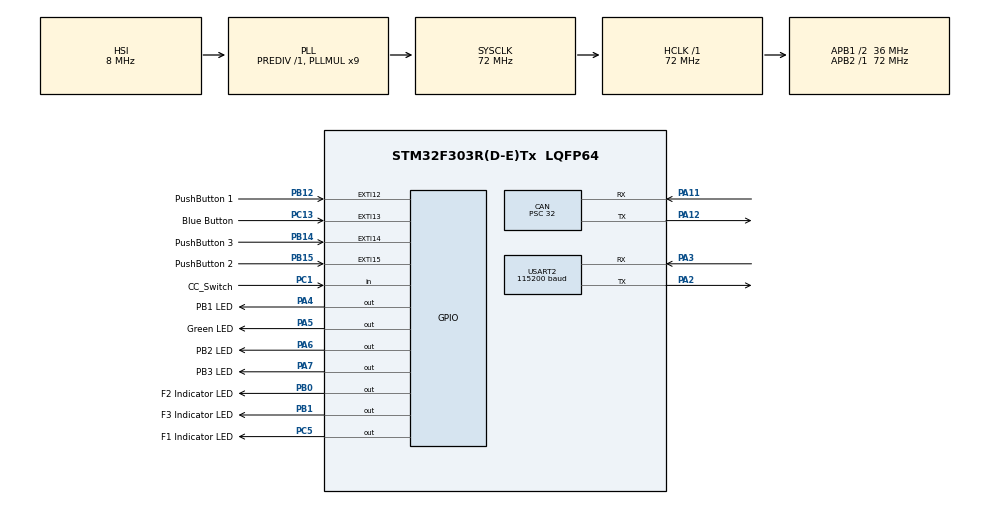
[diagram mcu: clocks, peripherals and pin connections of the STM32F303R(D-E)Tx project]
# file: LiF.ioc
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CAN.BS1=CAN_BS1_4TQ
CAN.BS2=CAN_BS2_4TQ
CAN.CalculateBaudRate=125000
CAN.CalculateTimeBit=8000
CAN.CalculateTimeQuantum=888.8888888888889
CAN.Prescaler=32
Mcu.Family=STM32F3
Mcu.Name=STM32F303R(D-E)Tx
Mcu.Package=LQFP64
NVIC.EXTI15_10_IRQn=true\:0\:0\:false\:false\:true\:true\:true\:true
NVIC.PVD_IRQn=true\:0\:0\:false\:false\:true\:true\:true\:true
NVIC.PriorityGroup=NVIC_PRIORITYGROUP_4
NVIC.USB_LP_CAN_RX0_IRQn=true\:0\:0\:false\:false\:true\:true\:true\:true
PA11.Mode=CAN_Activate
PA11.Signal=CAN_RX
PA12.Mode=CAN_Activate
PA12.Signal=CAN_TX
PA2.Mode=Asynchronous
PA2.Signal=USART2_TX
PA3.Mode=Asynchronous
PA3.Signal=USART2_RX
PA4.GPIO_Label=PB1 LED
PA4.Signal=GPIO_Output
PA5.GPIO_Label=Green LED
PA5.Signal=GPIO_Output
PA6.GPIO_Label=PB2 LED
PA6.Signal=GPIO_Output
PA7.GPIO_Label=PB3 LED
PA7.Signal=GPIO_Output
PB0.GPIO_Label=F2 Indicator LED
PB0.Signal=GPIO_Output
PB1.GPIO_Label=F3 Indicator LED
PB1.Signal=GPIO_Output
PB12.GPIO_Label=PushButton 1
PB12.GPIO_ModeDefaultEXTI=GPIO_MODE_IT_FALLING
PB12.Signal=GPXTI12
PB14.GPIO_Label=PushButton 3
PB14.GPIO_ModeDefaultEXTI=GPIO_MODE_IT_FALLING
PB14.Signal=GPXTI14
PB15.GPIO_Label=PushButton 2
PB15.GPIO_ModeDefaultEXTI=GPIO_MODE_IT_FALLING
PB15.Signal=GPXTI15
PC1.GPIO_Label=CC_Switch
PC1.GPIO_PuPd=GPIO_PULLUP
PC1.Signal=GPIO_Input
PC13.GPIO_Label=Blue Button
PC13.GPIO_ModeDefaultEXTI=GPIO_MODE_IT_FALLING
PC13.Signal=GPXTI13
PC5.GPIO_Label=F1 Indicator LED
PC5.Signal=GPIO_Output
ProjectManager.HeapSize=0x200
ProjectManager.StackSize=0x400
ProjectManager.TargetToolchain=STM32CubeIDE
RCC.AHBFreq_Value=72000000
RCC.APB1CLKDivider=RCC_HCLK_DIV2
RCC.APB1Freq_Value=36000000
RCC.APB1TimFreq_Value=72000000
RCC.APB2Freq_Value=72000000
RCC.APB2TimFreq_Value=72000000
RCC.CortexFreq_Value=72000000
RCC.HCLKFreq_Value=72000000
RCC.HSE_VALUE=8000000
RCC.HSI_VALUE=8000000
RCC.LSE_VALUE=32768
RCC.PLLMUL=RCC_PLL_MUL9
RCC.SYSCLKFreq_VALUE=72000000
RCC.SYSCLKSourceVirtual=RCC_SYSCLKSOURCE_PLLCLK
RCC.USBFreq_Value=72000000
USART2.BaudRate=115200
USART2.VirtualMode-Asynchronous=VM_ASYNC
board=custom

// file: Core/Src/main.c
/* USER CODE BEGIN Header */
/**
  ******************************************************************************
  * @file           : main.c
  * @brief          : Main program body
  * @author		    : Nick Kapuka
  ******************************************************************************
  * @attention
  *
  * Copyright (c) 2026 STMicroelectronics.
  * All rights reserved.
  *
  * This software is licensed under terms that can be found in the LICENSE file
  * in the root directory of this software component.
  * If no LICENSE file comes with this software, it is provided AS-IS.
  *
  ******************************************************************************
  */
/* USER CODE END Header */
#include "main.h"

/* USER CODE BEGIN Includes */
#include <stdbool.h>
/* USER CODE END Includes */

/* USER CODE BEGIN PD */
// ------------- NK UPDATE -------------:

// alternate between the different boards; used to setup faster FLASHING
#define CC_BOARD	0					// Cab STM32
#define F1_BOARD	1					// Floor 1 STM32
#define F2_BOARD	2					// Floor 2 STM32
#define F3_BOARD	3					// Floor 3 STM32

// ********************************* CHANGE PER BOARD *********************************
#define SELECTED_BOARD	CC_BOARD		// currently selected board; change when flashing
// ************************************************************************************

// CAN IDs:
#define SC_ID				          0x100		// Supervisor Controller; R-Pi
#define EC_ID				          0x101		// Elevator Controller; arduino
#define CC_ID				          0x200		// Cab Controller; STM32
#define SC_TO_CC_DOOR_UPD_ID  0x201		// SC requesting door state and
#define F1_ID				          0x301		// Floor 1 controller; STM32
#define F2_ID				          0x302		// Floor 2 controller; STM32
#define F3_ID				          0x303		// Floor 3 controller; STM32

// variable names for each floor
#define CAB_MOVING		0			// no floor; used for Cab
#define FLOOR_1				1
#define FLOOR_2				2
#define FLOOR_3				3
#define CAB_ALLOW			4

// pre-comp code block for configuring STM32 FLASHING
#if SELECTED_BOARD == CC_BOARD
	#define MY_ID		CC_ID
	#define MY_FLOOR	NO_FLOOR

// if floor 1 board
#elif SELECTED_BOARD == F1_BOARD
	#define MY_ID		F1_ID
	#define MY_FLOOR	FLOOR_1

// if floor 2 board
#elif	SELECTED_BOARD == F2_BOARD
	#define MY_ID		F2_ID
	#define MY_FLOOR	FLOOR_2

// if floor 3 board
#elif	SELECTED_BOARD == F3_BOARD
	#define MY_ID		F3_ID
	#define MY_FLOOR	FLOOR_3

// error check
#else
	#error "Invalid SELECTED_BOARD"

#endif

#define	NO_BUTTON_PRESSED	0		// default value for button status
#define BLUE_BUTTON_PRESS	1		// blue button will act as a 'homing' and send elv down to F1
#define	F1_BUTTON_PRESS		1		// req to go to floor 1 PB pressed
#define F2_BUTTON_PRESS		2		// req to go to floor 2 PB pressed
#define F3_BUTTON_PRESS		3		// req to go to floor 3 PB pressed
#define FX_BUTTON_PRESS		1		// req to go to send message (due to Matvey's requst)

/* USER CODE END PD */

CAN_HandleTypeDef hcan;

UART_HandleTypeDef huart2;

/* USER CODE BEGIN PV */
// ------------- NK UPDATE -------------:
CAN_TxHeaderTypeDef		TxHeader;						// variable of type CAN_TxHeaderTypeDef
CAN_RxHeaderTypeDef		RxHeader;						// variable of type CAN_RxHeaderTypeDef
uint8_t					TxData[8];						// 8 bytes of data per frame
uint8_t					RxData[8];						// 8 bytes of data per frame
uint32_t				TxMailbox;
volatile uint8_t		BUTTON = NO_BUTTON_PRESSED;		// initial value is that no button has been pressed

// receive initializations
volatile uint8_t CAN_MsgPending	= 0;		// flag for a pending message
volatile uint32_t rx_ID 	 	= 0;		// received message ID (only listen to EC's 0x101 ID)
volatile uint8_t rx_Byte0 		= 0;		// used to store numbers from first byte
uint8_t	 elevator_en 	= 0;				// elevator enabled flag (part of the message that EC sends)
uint8_t	 current_floor 	= 0;				// current floor value (part of the message that EC sends)
											// note: these are used in RxCallback function
bool is_virt_door_used = false;   // CC-only variable - is virtual door state being used
bool is_virt_door_open = false;   // CC-only variable - is virtual door open

// define a struct for non-blocking LED logic
typedef struct {
	GPIO_TypeDef* port;
	uint16_t pin;
	uint8_t active;
	uint32_t off_time;  // reused as last_transition_time in do_repeat=true mode
  bool do_repeat;     // added to allow continuous flashing
  uint32_t period;    // added to allow continuous flashing
} LED_Timer;

// enable the four LEDs (three floors and green blink for CANTx)
LED_Timer greenLedTimer = {GPIOA, Green_LED_Pin, 0, 0, false, 0};
LED_Timer F1_Req_LED = {PB1_LED_GPIO_Port, PB1_LED_Pin, 0, 0, false, 0};
LED_Timer F2_Req_LED = {PB2_LED_GPIO_Port, PB2_LED_Pin, 0, 0, false, 0};
LED_Timer F3_Req_LED = {PB3_LED_GPIO_Port, PB3_LED_Pin, 0, 0, false, 0};

uint8_t tx_buff[254];

/* USER CODE END PV */

void SystemClock_Config(void);
static void MX_GPIO_Init(void);
static void MX_CAN_Init(void);
static void MX_USART2_UART_Init(void);
/* USER CODE BEGIN PFP */
void CAN_ByteTransmit(uint32_t std_id, uint8_t data0);
void LED_BlinkStart(LED_Timer* led, uint32_t duration_ms);
void LED_BlinkUpdate(LED_Timer* led);
void CAN_ProcessReceive(void);
uint8_t PB_Process(uint8_t button);
void showFloor(void);
void doorSwitch(void);

void LED_FlashingStart(LED_Timer* led, uint32_t period);
void LED_FlashingStop(LED_Timer* led);

/* USER CODE END PFP */

/* USER CODE BEGIN 0 */
// ------------- NK UPDATE -------------:

// make a new function for transmitting CAN message:
// note, this setup is almost the same as the MX_CAN_Init
void CAN_ByteTransmit(uint32_t std_id, uint8_t data0){
	// set the TxHeader's stdID to std_id that you can pass into the function (message type and message data)
	// config:
	TxHeader.StdId = std_id;				// same as MX_CAN
	TxHeader.IDE = CAN_ID_STD;				// same as MX_CAN
	TxHeader.RTR = CAN_RTR_DATA;			// same as MX_CAN
	TxHeader.DLC = 1;						// same as MX_CAN
	TxHeader.TransmitGlobalTime = DISABLE;	// same as MX_CAN

	TxData[0] = data0;						// in the first byte of TxData, put the data you want to send

	// handle error
    if (HAL_CAN_AddTxMessage(&hcan, &TxHeader, TxData, &TxMailbox) != HAL_OK)
    {
        Error_Handler();
    }

    // note, the goal is to use this function as:
    // CAN_ByteTransmit(MY_ID, FLOOR_X);
}

// function to blink the LED without blocking (HAL_Delay is my nemesis)
// allows you to select what LED to blink and for how long
void LED_BlinkStart(LED_Timer* led, uint32_t duration_ms)
{
	// enable the LED via the defined port and pin (LED_Timer struct) and set it
	HAL_GPIO_WritePin(led->port, led->pin, GPIO_PIN_SET);
	// pointer to the LED_Timer struct to enable the 'active' bit in the struct
	led->active = 1;
  led->do_repeat = 0;
	// pointer to the LED_Timer struct to set the desired delay time
	// if tick is 100 and delay is 200, off_time is 300; Then when tick is 300, LED will be turned off via blinkUpdate below
	led->off_time = HAL_GetTick() + duration_ms;
}

void LED_FlashingStart(LED_Timer* led, uint32_t period) {
  // enable the LED via the defined port and pin (LED_Timer struct) and set it
	HAL_GPIO_WritePin(led->port, led->pin, GPIO_PIN_SET);
  // configure LED_Timer struct parameters
  led->active = 1;
  led->do_repeat = 1;
  led->period = period;
  led->off_time = HAL_GetTick(); // used as last transition timestamp in do_repeat mode
}

void LED_FlashingStop(LED_Timer* led) {
  led->do_repeat = 0;
  led->period = 0;
  HAL_GPIO_WritePin(led->port, led->pin, GPIO_PIN_RESET);
}

// function to update the state of the LED without blocking (HAL_delay is my nemesis)
void LED_BlinkUpdate(LED_Timer* led)
{
	// check if the LED is active
	if(led->active)
	{
    if (led->do_repeat) {
      // added continuous flashing
      if ((int32_t)HAL_GetTick() - led->off_time >= led->period) {
        led->off_time = (int32_t)HAL_GetTick();
        HAL_GPIO_TogglePin(led->port, led->pin);
      }
    } else {
      // keeping Nick's original code for single-time flash
      if((int32_t)(HAL_GetTick() - led->off_time) >= 0)
      {
        // turn the led off
        HAL_GPIO_WritePin(led->port, led->pin, GPIO_PIN_RESET);
        // disable the a'ctive' bit in the struct
        led->active = 0;
      }
    }
	}
}

// to show what floor elevator is on:
void showFloor(void)
{
    // turn all floor indicator LEDs off first
    HAL_GPIO_WritePin(F1_Indicator_LED_GPIO_Port, F1_Indicator_LED_Pin, GPIO_PIN_RESET);
    HAL_GPIO_WritePin(F2_Indicator_LED_GPIO_Port, F2_Indicator_LED_Pin, GPIO_PIN_RESET);
    HAL_GPIO_WritePin(F3_Indicator_LED_GPIO_Port, F3_Indicator_LED_Pin, GPIO_PIN_RESET);

    if(current_floor == FLOOR_1)
    {
        HAL_GPIO_WritePin(F1_Indicator_LED_GPIO_Port, F1_Indicator_LED_Pin, GPIO_PIN_SET);
    }
    else if(current_floor == FLOOR_2)
    {
        HAL_GPIO_WritePin(F2_Indicator_LED_GPIO_Port, F2_Indicator_LED_Pin, GPIO_PIN_SET);
    }
    else if(current_floor == FLOOR_3)
    {
        HAL_GPIO_WritePin(F3_Indicator_LED_GPIO_Port, F3_Indicator_LED_Pin, GPIO_PIN_SET);
    }
}

void CAN_ProcessReceive(void){
	// check if received ID is the ID of the EC
  int length = snprintf(tx_buff, sizeof(tx_buff), "Rec CAN frame with ID: %x and data %x ", rx_ID, rx_Byte0);
  HAL_UART_Transmit(&huart2, tx_buff, strlen(tx_buff), 1000);
	if (rx_ID == EC_ID)
	{
    strcpy(tx_buff, " - EC - Accepted\n");
    HAL_UART_Transmit(&huart2, tx_buff, strlen(tx_buff), 1000);
    // shift the 3rd bit (the actual EC en bit; >> 2) down to bit 1 and keep that (& 0x01)
		elevator_en = (rx_Byte0 >> 2) & 0x01;

		// only read the first two bits
		current_floor = rx_Byte0 & 0x03;
	} else if (rx_ID == SC_TO_CC_DOOR_UPD_ID) {
#if SELECTED_BOARD == CC_BOARD
    // CC may send a door status update if SC requests it in SC_TO_CC_DOOR_UPD_ID message
    bool do_send_reply = (rx_Byte0 & 0b00000100) > 0;
    bool do_use_virtual_door = (rx_Byte0 & 0b00000010) > 0;
    bool is_virtual_door_open_rx = (rx_Byte0 & 0b00000001) > 0;

    if (do_use_virtual_door) {
      is_virt_door_used = true;
      is_virt_door_open = is_virtual_door_open_rx;
      if (is_virt_door_open) {
        // if virtual door is open, update LEDs to flash together slowly

        LED_FlashingStart(&F1_Req_LED, 500);
        LED_FlashingStart(&F2_Req_LED, 500);
        LED_FlashingStart(&F3_Req_LED, 500);
      } else {
        LED_FlashingStop(&F1_Req_LED);
        LED_FlashingStop(&F2_Req_LED);
        LED_FlashingStop(&F3_Req_LED);
      }

    } else {
      is_virt_door_used = false;
      LED_FlashingStop(&F1_Req_LED);
      LED_FlashingStop(&F2_Req_LED);
      LED_FlashingStop(&F3_Req_LED);
    }

    if (do_send_reply) {
    	GPIO_PinState currentSwitchState = HAL_GPIO_ReadPin(CC_Switch_GPIO_Port, CC_Switch_Pin);
      bool is_phy_door_open = currentSwitchState == GPIO_PIN_SET;

      // reply open if either physical or virtual door is open
      bool reply_door_state = is_phy_door_open | is_virt_door_open;

      // CC_EN is bit 2
			CAN_ByteTransmit(MY_ID, ((int)reply_door_state) << 2);

    }
#endif
  } else {
    strcpy(tx_buff, " - Rejected\n");
    HAL_UART_Transmit(&huart2, tx_buff, strlen(tx_buff), 1000);

  }
}

uint8_t PB_Process(uint8_t button){
// CC exclusive code; won't run unless CC is selected using SELECTED_BOARD
#if SELECTED_BOARD == CC_BOARD

	// PB1/2/3 means go to floor 1/2/3
	// for CC, the button detects were flipped due to the STM32 being mounted upside down on the assembly
	// makes it easier to visually see the "floor 3" button corresponding to floor 1 because it's the lowest on the PCB

	// add door switch check to every CAN transmission
	// grab current switch state
	GPIO_PinState currentSwitchState = HAL_GPIO_ReadPin(CC_Switch_GPIO_Port, CC_Switch_Pin);
	uint8_t doorBit;
	if (currentSwitchState == GPIO_PIN_SET) {
		doorBit = 0;	// door open
	} else {
		doorBit = 0b00000100;	// door closed
	}

	if(button == F3_BUTTON_PRESS)
	{
    CAN_ByteTransmit(MY_ID, FLOOR_1 | doorBit);

    int length = snprintf(tx_buff, sizeof(tx_buff), "Sending CAN frame with ID: %x and data %x\n", MY_ID, FLOOR_1 | doorBit);
    HAL_UART_Transmit(&huart2, tx_buff, strlen(tx_buff), 1000);

		// illuminate PB LED for visual confirmation
		LED_BlinkStart(&F3_Req_LED, 200);
		return 1;

	}
	else if(button == F2_BUTTON_PRESS)
	{
		CAN_ByteTransmit(MY_ID, FLOOR_2 | doorBit);

    int length = snprintf(tx_buff, sizeof(tx_buff), "Sending CAN frame with ID: %x and data %x\n", MY_ID, FLOOR_2 | doorBit);
    HAL_UART_Transmit(&huart2, tx_buff, strlen(tx_buff), 1000);

		// illuminate PB LED for visual confirmation
		LED_BlinkStart(&F2_Req_LED, 200);
		return 1;

	}
	else if(button == F1_BUTTON_PRESS)
	{
		CAN_ByteTransmit(MY_ID, FLOOR_3 | doorBit);

    int length = snprintf(tx_buff, sizeof(tx_buff), "Sending CAN frame with ID: %x and data %x\n", MY_ID, FLOOR_3 | doorBit);
    HAL_UART_Transmit(&huart2, tx_buff, strlen(tx_buff), 1000);

		// illuminate PB LED for visual confirmation
		LED_BlinkStart(&F1_Req_LED, 200);
		return 1;

	}

// process button input differently based on what STM32 is used (car vs floor controllers):
#elif SELECTED_BOARD == F1_BOARD
	if(button == FX_BUTTON_PRESS){
		CAN_ByteTransmit(MY_ID, 0x01);

    int length = snprintf(tx_buff, sizeof(tx_buff), "Sending CAN frame with ID: %x and data %x\n", MY_ID, 0x01);
    HAL_UART_Transmit(&huart2, tx_buff, strlen(tx_buff), 1000);

		// illuminate PB LED for visual confirmation
		LED_BlinkStart(&F1_Req_LED, 200);
		return 1;
	}

#elif SELECTED_BOARD == F2_BOARD
	if(button == FX_BUTTON_PRESS){
		CAN_ByteTransmit(MY_ID, 0x01);

    int length = snprintf(tx_buff, sizeof(tx_buff), "Sending CAN frame with ID: %x and data %x\n", MY_ID, 0x01);
    HAL_UART_Transmit(&huart2, tx_buff, strlen(tx_buff), 1000);

		// illuminate PB LED for visual confirmation
		LED_BlinkStart(&F2_Req_LED, 200);
		return 1;
	}

#elif SELECTED_BOARD == F3_BOARD
	if(button == FX_BUTTON_PRESS){
		CAN_ByteTransmit(MY_ID, 0x01);

    int length = snprintf(tx_buff, sizeof(tx_buff), "Sending CAN frame with ID: %x and data %x\n", MY_ID, 0x01);
    HAL_UART_Transmit(&huart2, tx_buff, strlen(tx_buff), 1000);

		// illuminate PB LED for visual confirmation
		LED_BlinkStart(&F3_Req_LED, 200);
		return 1;
	}
#endif

	return 0;
}

// function for door switch on car controller
void doorSwitch(void){

// only run the code if it's the CC_BOARD and not Floor controllers
#if SELECTED_BOARD == CC_BOARD

	// set a helper variable to 0. Use static to keep it between function calls.
	static GPIO_PinState lastSwitchState = GPIO_PIN_RESET;
	// grab current switch state
	GPIO_PinState currentSwitchState = HAL_GPIO_ReadPin(CC_Switch_GPIO_Port, CC_Switch_Pin);

	// if there was a change (switch flipped)
	if(currentSwitchState != lastSwitchState)
	{
		// reset the variable
		lastSwitchState = currentSwitchState;

		// if the switch is ON
		if(currentSwitchState == GPIO_PIN_SET)
		{
			// switch is ON = doors open = no movement allowed. Send CAN message of 0b000 or 0x00
			CAN_ByteTransmit(MY_ID, 0);

      int length = snprintf(tx_buff, sizeof(tx_buff), "Sending CAN frame with ID: %x and data %x\n", MY_ID, 0);
      HAL_UART_Transmit(&huart2, tx_buff, strlen(tx_buff), 1000);

			LED_BlinkStart(&greenLedTimer, 200);
		} else {
			// switch is OFF = doors closed = movement allowed. Send CAN message of 0b100 or 0x04
			CAN_ByteTransmit(MY_ID, CAB_ALLOW);

      int length = snprintf(tx_buff, sizeof(tx_buff), "Sending CAN frame with ID: %x and data %x\n", MY_ID, CAB_ALLOW);
      HAL_UART_Transmit(&huart2, tx_buff, strlen(tx_buff), 1000);

			LED_BlinkStart(&greenLedTimer, 200);
		}
	}
#endif
}

/* USER CODE END 0 */

int main(void)
{

  /* MCU Configuration--------------------------------------------------------*/

  /* Reset of all peripherals, Initializes the Flash interface and the Systick. */
  HAL_Init();

  /* Configure the system clock */
  SystemClock_Config();

  /* Initialize all configured peripherals */
  MX_GPIO_Init();
  MX_CAN_Init();
  MX_USART2_UART_Init();

  /* Infinite loop */
  while (1)
  {

    /* USER CODE BEGIN 3 */
	  	  // always display current floor on floor PCBs and car cab PCB
	  	  showFloor();

	  	  // always update the state of the LEDs blinking
	  	  LED_BlinkUpdate(&greenLedTimer);
	  	  LED_BlinkUpdate(&F1_Req_LED);
	  	  LED_BlinkUpdate(&F2_Req_LED);
	  	  LED_BlinkUpdate(&F3_Req_LED);
	  	  // run function to check if doorswitch was changed
	  	  doorSwitch();
	  	  // Receive messages
	  	  // check if msgpending (if msg received)
	  	 if (CAN_MsgPending)
	  	 {
	  		 // flag msg as read by reseting MsgPending
	  		 CAN_MsgPending = 0;
	  		 // process msg; grab the two values from EC regarding position (floor #) and status (en or !en)
	  		 CAN_ProcessReceive();
	  	 }

	  	 // Transmit messages
	  	 // check if input present
	  	if(BUTTON != NO_BUTTON_PRESSED)
	  	{
	  		// variable for storing current tick (debounce)
	  	    static uint32_t lastButtonTxTime = 0;
	  		 // temporarily store before processing
	  		 // avoids weird interrupt flags (like if BUTTON is updated before msg read)
	  	    uint8_t pressed_button = BUTTON;
	  	    BUTTON = NO_BUTTON_PRESSED;

	  	    // check current tick and compare to last press. Only send message if its a proper button press and not spam
	  	    if(HAL_GetTick() - lastButtonTxTime > 250)
	  	    {
	  	    	 // process button
	  	        uint8_t transmitSuccessful = PB_Process(pressed_button);
	  	        lastButtonTxTime = HAL_GetTick();

	  	        // blink green LED briefly if transmit succesful.
	  	        if(transmitSuccessful)
	  	        {
	  	        LED_BlinkStart(&greenLedTimer, 200);
	  	        }

	  	    }

	  	}
  }
  return 0;
  /* USER CODE END 3 */
}

void SystemClock_Config(void)
{
  RCC_OscInitTypeDef RCC_OscInitStruct = {0};
  RCC_ClkInitTypeDef RCC_ClkInitStruct = {0};
  RCC_PeriphCLKInitTypeDef PeriphClkInit = {0};

  /** Initializes the RCC Oscillators according to the specified parameters
  * in the RCC_OscInitTypeDef structure.
  */
  RCC_OscInitStruct.OscillatorType = RCC_OSCILLATORTYPE_HSI;
  RCC_OscInitStruct.HSIState = RCC_HSI_ON;
  RCC_OscInitStruct.HSICalibrationValue = RCC_HSICALIBRATION_DEFAULT;
  RCC_OscInitStruct.PLL.PLLState = RCC_PLL_ON;
  RCC_OscInitStruct.PLL.PLLSource = RCC_PLLSOURCE_HSI;
  RCC_OscInitStruct.PLL.PLLMUL = RCC_PLL_MUL9;
  RCC_OscInitStruct.PLL.PREDIV = RCC_PREDIV_DIV1;
  if (HAL_RCC_OscConfig(&RCC_OscInitStruct) != HAL_OK)
  {
    Error_Handler();
  }

  /** Initializes the CPU, AHB and APB buses clocks
  */
  RCC_ClkInitStruct.ClockType = RCC_CLOCKTYPE_HCLK|RCC_CLOCKTYPE_SYSCLK
                              |RCC_CLOCKTYPE_PCLK1|RCC_CLOCKTYPE_PCLK2;
  RCC_ClkInitStruct.SYSCLKSource = RCC_SYSCLKSOURCE_PLLCLK;
  RCC_ClkInitStruct.AHBCLKDivider = RCC_SYSCLK_DIV1;
  RCC_ClkInitStruct.APB1CLKDivider = RCC_HCLK_DIV2;
  RCC_ClkInitStruct.APB2CLKDivider = RCC_HCLK_DIV1;

  if (HAL_RCC_ClockConfig(&RCC_ClkInitStruct, FLASH_LATENCY_2) != HAL_OK)
  {
    Error_Handler();
  }
  PeriphClkInit.PeriphClockSelection = RCC_PERIPHCLK_USART2;
  PeriphClkInit.Usart2ClockSelection = RCC_USART2CLKSOURCE_PCLK1;
  if (HAL_RCCEx_PeriphCLKConfig(&PeriphClkInit) != HAL_OK)
  {
    Error_Handler();
  }
}

static void MX_CAN_Init(void)
{

  hcan.Instance = CAN;
  hcan.Init.Prescaler = 32;
  hcan.Init.Mode = CAN_MODE_NORMAL;
  hcan.Init.SyncJumpWidth = CAN_SJW_1TQ;
  hcan.Init.TimeSeg1 = CAN_BS1_4TQ;
  hcan.Init.TimeSeg2 = CAN_BS2_4TQ;
  hcan.Init.TimeTriggeredMode = DISABLE;
  hcan.Init.AutoBusOff = DISABLE;
  hcan.Init.AutoWakeUp = DISABLE;
  hcan.Init.AutoRetransmission = DISABLE;
  hcan.Init.ReceiveFifoLocked = DISABLE;
  hcan.Init.TransmitFifoPriority = DISABLE;
  if (HAL_CAN_Init(&hcan) != HAL_OK)
  {
    Error_Handler();
  }
  /* USER CODE BEGIN CAN_Init 2 */

  // ------------- NK UPDATE -------------:
  CAN_FilterTypeDef filter;		// this is one of the 13 filters; can create more filters but this will be #0

  // configure filter 0 to direct everything to FIFO 0
  filter.FilterBank = 0;				// this will filter number 0
  filter.FilterIdHigh = 0x0201 << 5;	// Set FilterIdHigh bits by choosing an ID and aligning the bits in the filter register with the receive register by shifting << 5
  filter.FilterIdLow = 0x0000;			// not using FilterIdLow bits (sets as dc/low)
  filter.FilterMaskIdHigh = 0xFFC << 5;	// Same as example in lecture (this gives a range of ID's that will be accept between 0x100 and 0x103). Must also align bits?
  filter.FilterMaskIdLow = 0x0000;		// not using FilterMaskIdLow bits (set as dc/low)
  filter.FilterFIFOAssignment = CAN_FILTER_FIFO0;
  filter.FilterMode = CAN_FILTERMODE_IDMASK;	// uses Mask Mode (so cans et range of IDs)
  filter.FilterScale = CAN_FILTERSCALE_32BIT;	//use 32 bit filters
  filter.FilterActivation = ENABLE;				// by default the filters are disabled so enable
  filter.SlaveStartFilterBank = 0;

  if(HAL_CAN_ConfigFilter(&hcan, &filter) != HAL_OK){ // set above values for filter 0?
	  Error_Handler();
  }

  // start CAN peripheral
  if(HAL_CAN_Start(&hcan) != HAL_OK){
	  Error_Handler();
  }

  // Activate CAN Rx notification interrupt
  if(HAL_CAN_ActivateNotification(&hcan, CAN_IT_RX_FIFO0_MSG_PENDING) != HAL_OK){
	  Error_Handler();
  }

  // prepare header fields for standard mode CAN transmission
  TxHeader.IDE = CAN_ID_STD; 			// using std mode. Note this CAN_ID_EXT for extended mode?
  TxHeader.ExtId = 0x00;				// extended id is not used?
  // ------------------------------------------------------------------------------------------
  TxHeader.StdId = MY_ID;				// standard mode ID is NODE specific. Currently using 0x200 for CC  controller on THIS board!
  // ------------------------------------------------------------------------------------------
  TxHeader.RTR = CAN_RTR_DATA;			// send a data frame not an RTR?
  TxHeader.DLC = 1;						// data length code = 1 (only send 1 byte)
  TxHeader.TransmitGlobalTime = DISABLE;

  /* USER CODE END CAN_Init 2 */

}

static void MX_USART2_UART_Init(void)
{

  huart2.Instance = USART2;
  huart2.Init.BaudRate = 115200;
  huart2.Init.WordLength = UART_WORDLENGTH_8B;
  huart2.Init.StopBits = UART_STOPBITS_1;
  huart2.Init.Parity = UART_PARITY_NONE;
  huart2.Init.Mode = UART_MODE_TX_RX;
  huart2.Init.HwFlowCtl = UART_HWCONTROL_NONE;
  huart2.Init.OverSampling = UART_OVERSAMPLING_16;
  huart2.Init.OneBitSampling = UART_ONE_BIT_SAMPLE_DISABLE;
  huart2.AdvancedInit.AdvFeatureInit = UART_ADVFEATURE_NO_INIT;
  if (HAL_UART_Init(&huart2) != HAL_OK)
  {
    Error_Handler();
  }

}

static void MX_GPIO_Init(void)
{
  GPIO_InitTypeDef GPIO_InitStruct = {0};

  /* GPIO Ports Clock Enable */
  __HAL_RCC_GPIOC_CLK_ENABLE();
  __HAL_RCC_GPIOA_CLK_ENABLE();
  __HAL_RCC_GPIOB_CLK_ENABLE();

  /*Configure GPIO pin Output Level */
  HAL_GPIO_WritePin(GPIOA, PB1_LED_Pin|Green_LED_Pin|PB2_LED_Pin|PB3_LED_Pin, GPIO_PIN_RESET);

  /*Configure GPIO pin Output Level */
  HAL_GPIO_WritePin(F1_Indicator_LED_GPIO_Port, F1_Indicator_LED_Pin, GPIO_PIN_RESET);

  /*Configure GPIO pin Output Level */
  HAL_GPIO_WritePin(GPIOB, F2_Indicator_LED_Pin|F3_Indicator_LED_Pin, GPIO_PIN_RESET);

  /*Configure GPIO pin : Blue_Button_Pin */
  GPIO_InitStruct.Pin = Blue_Button_Pin;
  GPIO_InitStruct.Mode = GPIO_MODE_IT_FALLING;
  GPIO_InitStruct.Pull = GPIO_NOPULL;
  HAL_GPIO_Init(Blue_Button_GPIO_Port, &GPIO_InitStruct);

  /*Configure GPIO pin : CC_Switch_Pin */
  GPIO_InitStruct.Pin = CC_Switch_Pin;
  GPIO_InitStruct.Mode = GPIO_MODE_INPUT;
  GPIO_InitStruct.Pull = GPIO_PULLDOWN;
  HAL_GPIO_Init(CC_Switch_GPIO_Port, &GPIO_InitStruct);

  /*Configure GPIO pins : PB1_LED_Pin Green_LED_Pin PB2_LED_Pin PB3_LED_Pin */
  GPIO_InitStruct.Pin = PB1_LED_Pin|Green_LED_Pin|PB2_LED_Pin|PB3_LED_Pin;
  GPIO_InitStruct.Mode = GPIO_MODE_OUTPUT_PP;
  GPIO_InitStruct.Pull = GPIO_NOPULL;
  GPIO_InitStruct.Speed = GPIO_SPEED_FREQ_LOW;
  HAL_GPIO_Init(GPIOA, &GPIO_InitStruct);

  /*Configure GPIO pin : F1_Indicator_LED_Pin */
  GPIO_InitStruct.Pin = F1_Indicator_LED_Pin;
  GPIO_InitStruct.Mode = GPIO_MODE_OUTPUT_PP;
  GPIO_InitStruct.Pull = GPIO_NOPULL;
  GPIO_InitStruct.Speed = GPIO_SPEED_FREQ_LOW;
  HAL_GPIO_Init(F1_Indicator_LED_GPIO_Port, &GPIO_InitStruct);

  /*Configure GPIO pins : F2_Indicator_LED_Pin F3_Indicator_LED_Pin */
  GPIO_InitStruct.Pin = F2_Indicator_LED_Pin|F3_Indicator_LED_Pin;
  GPIO_InitStruct.Mode = GPIO_MODE_OUTPUT_PP;
  GPIO_InitStruct.Pull = GPIO_NOPULL;
  GPIO_InitStruct.Speed = GPIO_SPEED_FREQ_LOW;
  HAL_GPIO_Init(GPIOB, &GPIO_InitStruct);

  /*Configure GPIO pins : PushButton_1_Pin PushButton_3_Pin PushButton_2_Pin */
  GPIO_InitStruct.Pin = PushButton_1_Pin|PushButton_3_Pin|PushButton_2_Pin;
  GPIO_InitStruct.Mode = GPIO_MODE_IT_FALLING;
  GPIO_InitStruct.Pull = GPIO_NOPULL;
  HAL_GPIO_Init(GPIOB, &GPIO_InitStruct);

  /* EXTI interrupt init*/
  HAL_NVIC_SetPriority(EXTI15_10_IRQn, 0, 0);
  HAL_NVIC_EnableIRQ(EXTI15_10_IRQn);

}

/* USER CODE BEGIN 4 */
// ------------- NK CHANGE -------------:
// Override the HAL_CAN_RxFifo0MsgPending_Callback function
// this is called when the interrupt for FIFO0 is triggered

void HAL_CAN_RxFifo0MsgPendingCallback(CAN_HandleTypeDef *hcan){

	// get Rx Msg and store in RxData buffer
	if(HAL_CAN_GetRxMessage(hcan, CAN_RX_FIFO0, &RxHeader, RxData) != HAL_OK)
	{
		// reception error
		Error_Handler();
	}

	rx_ID = RxHeader.StdId;		// grab the ID of the message and store it locally
	rx_Byte0 = RxData[0];		// read and store first byte locally
	CAN_MsgPending = 1;			// message received and set high for process in main

	// goal: store these read values in main and process them there
	// use-case: 'msg receive (msgPending) with rx_ID, of size 1 byte (first byte)'

}

// override the HAL_GPIO Callback
void HAL_GPIO_EXTI_Callback(uint16_t GPIO_Pin){
	//set the button flag to indicate which button was pressed
	// GPIO pin 13 is the 'blue' button, or BLUE_BUTTON_PRESS in my program
	if(GPIO_Pin == Blue_Button_Pin){
		// blue button pressed
		BUTTON = BLUE_BUTTON_PRESS;
	}

	// check to see if the other elevator PBs have been pressed and associate the physical pin
	// with the defined value
	// note, the naming scheme for these seems to be "[customNameInMX]_Pin"
	if(GPIO_Pin == PushButton_1_Pin){
		BUTTON = F1_BUTTON_PRESS;
	} else if(GPIO_Pin == PushButton_2_Pin){
		BUTTON = F2_BUTTON_PRESS;
	}else if(GPIO_Pin == PushButton_3_Pin){
		BUTTON = F3_BUTTON_PRESS;
	}
}

/* USER CODE END 4 */

void Error_Handler(void)
{
  __disable_irq();
  while (1)
  {
  }
}
